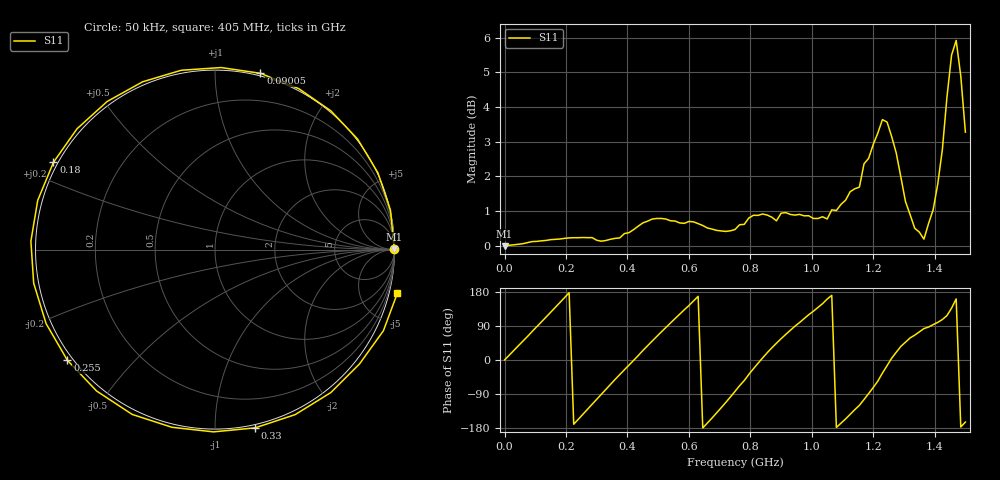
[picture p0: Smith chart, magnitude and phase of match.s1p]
! Created with skrf 1.8.0 (http://scikit-rf.org).
# Hz S RI R 50.0
!freq ReS11 ImS11
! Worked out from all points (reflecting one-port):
!   101 points, 50 kHz to 1.5 GHz, reference 50 ohm
!   lowest |S11| = 0.0 dB at 50 kHz (marker M1)
!   phase of S11 starts at 0 deg and turns +1276 deg over the sweep
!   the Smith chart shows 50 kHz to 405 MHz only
!   S11 on the Smith chart (normalised r, x): 50 kHz: open; 90.05 MHz: -0.02, +1.29; 180 MHz: -0.01, +0.25; 255 MHz: -0.02, -0.33; 330 MHz: -0.02, -1.25; 405 MHz: -1.55, -8.21
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50000  0.9989 0.000621
9.0047e7  0.2529 0.9822
1.80044e8  -0.8999 0.4866
1.950435e8  -0.9877 0.2745
2.550415e8  -0.8226 -0.6164
3.30039e8  0.2235 -0.9932
3.750375e8  0.805 -0.6372
4.050365e8  1.016 -0.2424
4.50035e8  0.9781 0.4557
4.950335e8  0.5161 0.9659
5.70031e8  -0.5545 0.9256
6.60028e8  -1.032 -0.2483
7.50025e8  0.1306 -1.047
7.950235e8  0.8632 -0.6764
8.40022e8  1.106 0.1081
9.0002e8  0.6208 0.9255
9.450185e8  0.0186 1.107
1.050015e9  -1.033 0.359
1.125012e9  -0.9605 -0.7144
1.20001e9  0.4199 -1.335
1.245008e9  1.456 -0.3918
1.275008e9  1.274 0.4762
1.320006e9  0.5848 0.9426
1.410003e9  -0.1982 1.212
1.440002e9  -0.751 1.456
1.455002e9  -1.372 1.29
1.470001e9  -1.871 0.6379
1.5e9  -1.4 -0.4092
